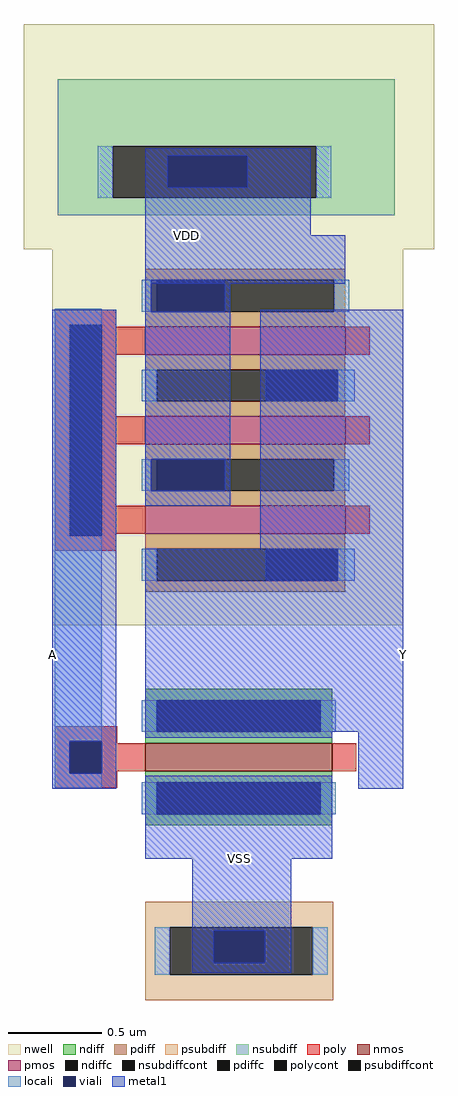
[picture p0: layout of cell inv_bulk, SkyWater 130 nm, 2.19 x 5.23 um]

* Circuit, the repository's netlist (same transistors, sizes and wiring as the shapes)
* NGSPICE file created from inv_bulk.ext - technology: sky130B

.subckt sky130_fd_pr__nfet_01v8_6H9P4D a_n73_n100# a_15_n100# a_n15_n126# VSUBS
X0 a_15_n100# a_n15_n126# a_n73_n100# VSUBS sky130_fd_pr__nfet_01v8 ad=0.29 pd=2.58 as=0.29 ps=2.58 w=1 l=0.15
.ends

.subckt efepmos_W107-L15-F3 a_n129_n204# a_n173_n107# w_n209_n207# a_n81_n107#
X0 a_n81_n107# a_n129_n204# a_n173_n107# w_n209_n207# sky130_fd_pr__pfet_01v8 ad=0.3317 pd=2.76 as=0.17655 ps=1.4 w=1.07 l=0.15
X1 a_n81_n107# a_n129_n204# a_n173_n107# w_n209_n207# sky130_fd_pr__pfet_01v8 ad=0.17655 pd=1.4 as=0.3317 ps=2.76 w=1.07 l=0.15
X2 a_n173_n107# a_n129_n204# a_n81_n107# w_n209_n207# sky130_fd_pr__pfet_01v8 ad=0.17655 pd=1.4 as=0.17655 ps=1.4 w=1.07 l=0.15
.ends

.subckt inv_bulk VDD A Y VSS
Xsky130_fd_pr__nfet_01v8_6H9P4D_0 Y VSS A VSS sky130_fd_pr__nfet_01v8_6H9P4D
Xefepmos_W107-L15-F3_0 A VDD VDD Y efepmos_W107-L15-F3
.ends

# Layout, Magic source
magic
tech sky130B
magscale 1 2
<< nwell >>
rect -30 403 409 644
rect 0 366 376 403
rect 101 347 104 366
rect 223 290 343 338
rect 326 288 343 290
<< psubdiff >>
rect 100 -323 301 -296
rect 100 -374 126 -323
rect 279 -374 301 -323
rect 100 -401 301 -374
<< nsubdiff >>
rect 6 513 367 585
rect 6 458 65 513
rect 283 458 367 513
rect 6 439 367 458
<< psubdiffcont >>
rect 126 -374 279 -323
<< nsubdiffcont >>
rect 65 458 283 513
<< poly >>
rect 3 -124 70 -108
rect 3 -158 19 -124
rect 53 -126 70 -124
rect 53 -156 75 -126
rect 53 -158 70 -156
rect 3 -174 70 -158
<< polycont >>
rect 19 -158 53 -124
<< locali >>
rect 49 458 65 513
rect 283 458 299 513
rect 3 -124 53 339
rect 3 -158 19 -124
rect 3 -174 53 -158
rect 110 -374 126 -323
rect 279 -374 295 -323
<< viali >>
rect 124 469 209 503
rect 19 -158 53 -124
rect 173 -361 228 -327
<< metal1 >>
rect 100 503 277 511
rect 100 469 124 503
rect 209 469 277 503
rect 100 418 277 469
rect 100 366 314 418
rect 101 347 104 366
rect 0 80 53 338
rect 223 82 376 338
rect 0 -124 69 80
rect 100 -114 376 82
rect 0 -158 19 -124
rect 53 -158 69 -124
rect 0 -175 69 -158
rect 100 -250 300 -161
rect 328 -175 376 -114
rect 150 -327 256 -250
rect 150 -361 173 -327
rect 228 -361 256 -327
rect 150 -372 256 -361
use efepmos_W107-L15-F3  efepmos_W107-L15-F3_0
transform 0 1 207 -1 0 209
box -209 -207 209 169
use sky130_fd_pr__nfet_01v8_6H9P4D  sky130_fd_pr__nfet_01v8_6H9P4D_0
transform 0 1 200 -1 0 -141
box -73 -126 73 126
<< labels >>
rlabel metal1 376 -31 376 -31 3 Y
port 3 e
rlabel metal1 0 -31 0 -31 7 A
port 2 e
rlabel metal1 144 418 144 418 1 VDD
port 1 n
rlabel metal1 201 -250 201 -250 5 VSS
port 4 s
<< end >>

# cell efepmos_W107-L15-F3: kit device sky130_fd_pr__pfet_01v8, w 1.07 l 0.15 m 1 nf 3 diffcov 100 polycov 100 guard 0 glc 1 grc 1 gtc 1 gbc 1 tbcov 100 rlcov 100 topc 0 botc 0 poverlap 0 doverlap 1 lmin 0.15 wmin 0.42 compatible {sky130_fd_pr__pfet_01v8 sky130_fd_pr__pfet_01v8_lvt sky130_fd_pr__pfet_01v8_hvt sky130_fd_pr__pfet_g5v0d10v5} full_metal 1 viasrc 100 viadrn 100 viagate 100 viagb 0 viagr 0 viagl 0 viagt 0

# cell sky130_fd_pr__nfet_01v8_6H9P4D: kit device sky130_fd_pr__nfet_01v8, w 1 l 0.150 m 1 nf 1 diffcov 100 polycov 100 guard 0 glc 1 grc 1 gtc 1 gbc 1 tbcov 100 rlcov 100 topc 0 botc 0 poverlap 0 doverlap 1 lmin 0.15 wmin 0.42 compatible {sky130_fd_pr__nfet_01v8 sky130_fd_pr__nfet_01v8_lvt sky130_fd_bs_flash__special_sonosfet_star sky130_fd_pr__nfet_g5v0d10v5 sky130_fd_pr__nfet_05v0_nvt sky130_fd_pr__nfet_03v3_nvt} full_metal 1 viasrc 100 viadrn 100 viagate 100 viagb 0 viagr 0 viagl 0 viagt 0
